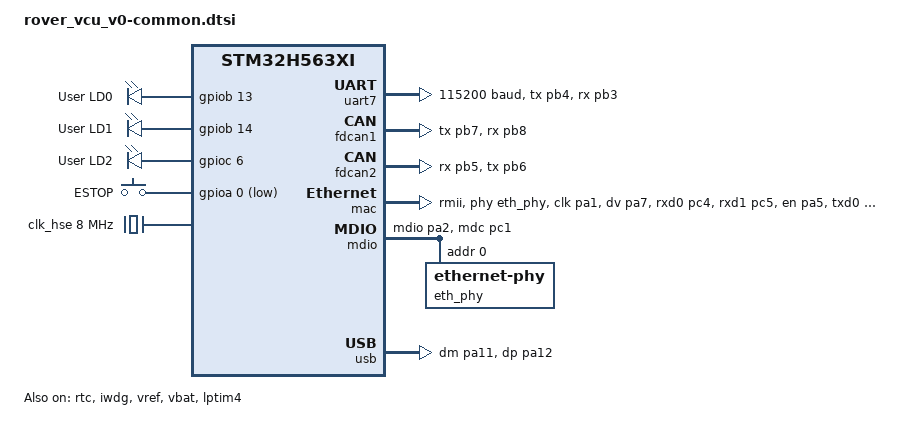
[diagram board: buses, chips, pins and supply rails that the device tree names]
#include <st/h5/stm32h563Xi.dtsi>
#include <st/h5/stm32h563ritx-pinctrl.dtsi>
#include <zephyr/dt-bindings/input/input-event-codes.h>

/ {
	leds: leds {
		compatible = "gpio-leds";

		led0: led_0 {
			gpios = <&gpiob 13 GPIO_ACTIVE_HIGH>;
			label = "User LD0";
		};

		led1: led_1 {
			gpios = <&gpiob 14 GPIO_ACTIVE_HIGH>;
			label = "User LD1";
		};

		led2: led_2 {
			gpios = <&gpioc 6 GPIO_ACTIVE_HIGH>;
			label = "User LD2";
		};

	};

	gpio_keys {
		compatible = "gpio-keys";

		estop_btn: estop {
			label = "ESTOP";
			gpios = <&gpioa 0 (GPIO_ACTIVE_LOW | GPIO_PULL_UP)>;
			zephyr,code = <INPUT_KEY_0>;
		};
	};

    chosen {
        zephyr,system-timer = &lptim4;
    };

};

&clk_hsi {
	status = "disabled";
};

&clk_hse {
	clock-frequency = <DT_FREQ_M(8)>;
	status = "okay";
};

&clk_hsi48 {
	status = "okay";
};

&clk_lse {
	status = "okay";
};

&pll {
	div-m = <2>; /* 8MHz HSE / 2 = 4MHz PLL input */
	mul-n = <120>; /* 4MHz * 120 = 480MHz VCO */
	div-p = <2>; /* 480MHz / 2 = 240MHz SYSCLK */
	div-q = <4>;
	div-r = <2>;
	clocks = <&clk_hse>;
	status = "okay";
};

&pll2 {
	div-m = <2>;
	mul-n = <120>;
	div-p = <2>;
	div-q = <3>;
	div-r = <2>;
	clocks = <&clk_hse>;
	status = "okay";
};



&rcc {
	clocks = <&pll>;
	clock-frequency = <DT_FREQ_M(240)>;
	ahb-prescaler = <1>;
	apb1-prescaler = <2>;
	apb2-prescaler = <1>;
	apb3-prescaler = <2>;
};

&uart7 {
	pinctrl-0 = <&uart7_tx_pb4 &uart7_rx_pb3>;
	pinctrl-names = "default";
	current-speed = <115200>;
	status = "okay";
};

&fdcan1 {
	pinctrl-0 = <&fdcan1_tx_pb7 &fdcan1_rx_pb8>;
	pinctrl-names = "default";
	clocks = <&rcc STM32_CLOCK(APB1_2, 9)>,
		 <&rcc STM32_SRC_HSE FDCAN_SEL(0)>;
	status = "okay";
};

&fdcan2 {
	pinctrl-0 = <&fdcan2_rx_pb5 &fdcan2_tx_pb6>;
	pinctrl-names = "default";
	clocks = <&rcc STM32_CLOCK(APB1_2, 9)>,
		 <&rcc STM32_SRC_HSE FDCAN_SEL(0)>;
	status = "okay";
};

&mac {
	status = "okay";
	pinctrl-0 = <&eth_ref_clk_pa1
		     &eth_crs_dv_pa7
		     &eth_rxd0_pc4
		     &eth_rxd1_pc5
		     &eth_tx_en_pa5
		     &eth_txd0_pb12
		     &eth_txd1_pb15>;
	pinctrl-names = "default";
	phy-connection-type = "rmii";
	phy-handle = <&eth_phy>;
};

&mdio {
	status = "okay";
	pinctrl-0 = <&eth_mdio_pa2 &eth_mdc_pc1>;
	pinctrl-names = "default";

	eth_phy: ethernet-phy@0 {
		compatible = "ethernet-phy";
		reg = <0x00>;
	};
};

&rtc {
	clocks = <&rcc STM32_CLOCK(APB3, 21)>,
		 <&rcc STM32_SRC_LSE RTC_SEL(1)>;
	status = "okay";
};

&iwdg {
	status = "okay";
};

&gpdma1 {
	status = "okay";
};

&gpdma2 {
	status = "okay";
};





&flash0 {
	partitions {
		compatible = "fixed-partitions";
		#address-cells = <1>;
		#size-cells = <1>;

		boot_partition: partition@0 {
			label = "mcuboot";
			reg = <0x00000000 DT_SIZE_K(64)>;
		};

		slot0_partition: partition@10000 {
			label = "image-0";
			reg = <0x00010000 DT_SIZE_K(960)>;
		};

		slot1_partition: partition@100000 {
			label = "image-1";
			reg = <0x00100000 DT_SIZE_K(960)>;
		};

		storage_partition: partition@1f0000 {
			label = "storage";
			reg = <0x001f0000 DT_SIZE_K(64)>;
		};
	};
};

zephyr_udc0: &usb {
	pinctrl-0 = <&usb_dm_pa11 &usb_dp_pa12>;
	pinctrl-names = "default";
	status = "okay";
};

&vref {
	status = "okay";
};

&vbat {
	status = "okay";
};

&clk_lsi {
	status = "okay";
};

&lptim4 {
	clocks = <&rcc STM32_CLOCK(APB3, 13)>,
		 <&rcc STM32_SRC_LSI LPTIM4_SEL(4)>;
	status = "okay";
};
